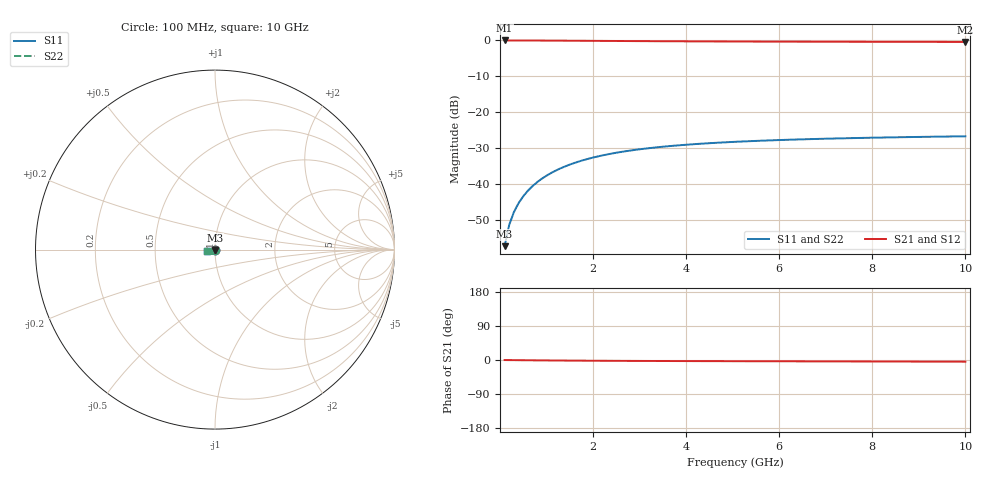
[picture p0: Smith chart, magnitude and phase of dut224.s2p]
! Touchstone file exported from HFSS 2024.1.0
!  File:  C:/UserFiles/LocalFiles/RDL_TSV_Batchsim/temp_TSV1_224_1778758627.aedt
!  Generated:  07:43:31 PM May 14, 2026
!  Design:  TSV1
!  Project:  temp_TSV1_224_1778758627
!  Setup:  Setup1
!  Solution:  Sweep
! Variables:
!  dtsv = 13.23um
!  hbump = 3um
!  htsv = 66.61um
!  lrdl = 252.1521522um
!  p = 40
!  p1 = 52.52um
!  t = 500um
!  trdl = 3um
!  wrdl = 24.89489489um
# GHz S MA R 50.000000
! Terminal data exported
! Port[1] = TSV22_T1
! Port[2] = TSV22_T2
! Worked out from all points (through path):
!   100 points, 100 MHz to 10 GHz, reference 50 ohm
!   highest |S21| = 0.00 dB at 100 MHz (marker M1); lowest = -0.4 dB at 10 GHz (marker M2)
!   lowest |S11| = -57.4 dB at 100 MHz (marker M3), VSWR 1.00, Z = 50 - j0.134 ohm
!   |S11| at or under -10 dB: start of sweep to end of sweep
!   |S22| runs from -57.4 to -26.8 dB; largest |S21 - S12| = 3.1e-15
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0.1  0.001343 -88.5  0.9999 -0.1  0.9999 -0.1  0.001343 -88.5
! Gamma 0 0 0 0
! Port Impedance 50 0 50 0
0.2  0.002683 -91.8  0.9997 -0.2  0.9997 -0.2  0.002683 -91.8
0.3  0.004022 -94.0  0.9995 -0.4  0.9995 -0.4  0.004022 -94.0
0.4  0.005354 -96.1  0.9992 -0.5  0.9992 -0.5  0.005354 -96.1
0.5  0.006673 -98.0  0.9988 -0.6  0.9988 -0.6  0.006673 -98.0
0.6  0.007976 -99.9  0.9984 -0.7  0.9984 -0.7  0.007976 -99.9
0.7  0.009258 -101.8  0.9978 -0.8  0.9978 -0.8  0.009258 -101.8
0.8  0.01052 -103.6  0.9972 -0.9  0.9972 -0.9  0.01052 -103.6
0.9  0.01175 -105.4  0.9966 -1.0  0.9966 -1.0  0.01175 -105.4
1.1  0.01412 -108.8  0.9952 -1.2  0.9952 -1.2  0.01412 -108.8
1.4  0.01745 -113.6  0.9928 -1.5  0.9928 -1.5  0.01745 -113.6
1.6  0.0195 -116.7  0.991 -1.6  0.991 -1.6  0.0195 -116.7
1.8  0.0214 -119.6  0.9893 -1.8  0.9893 -1.8  0.0214 -119.6
2.1  0.02401 -123.6  0.9866 -2.0  0.9866 -2.0  0.02401 -123.6
2.5  0.02706 -128.5  0.983 -2.2  0.983 -2.2  0.02706 -128.5
2.9  0.02965 -132.9  0.9797 -2.4  0.9797 -2.4  0.02965 -132.9
3.4  0.03236 -137.8  0.976 -2.6  0.976 -2.6  0.03236 -137.8
4.2  0.03575 -144.4  0.9709 -2.9  0.9709 -2.9  0.03575 -144.4
5.1  0.03857 -150.4  0.9663 -3.2  0.9663 -3.2  0.03857 -150.4
6.7  0.04199 -158.9  0.9605 -3.6  0.9605 -3.6  0.04199 -158.9
8.4  0.04435 -165.8  0.9565 -4.0  0.9565 -4.0  0.04435 -165.8
10  0.04591 -171.1  0.9538 -4.4  0.9538 -4.4  0.04591 -171.1
